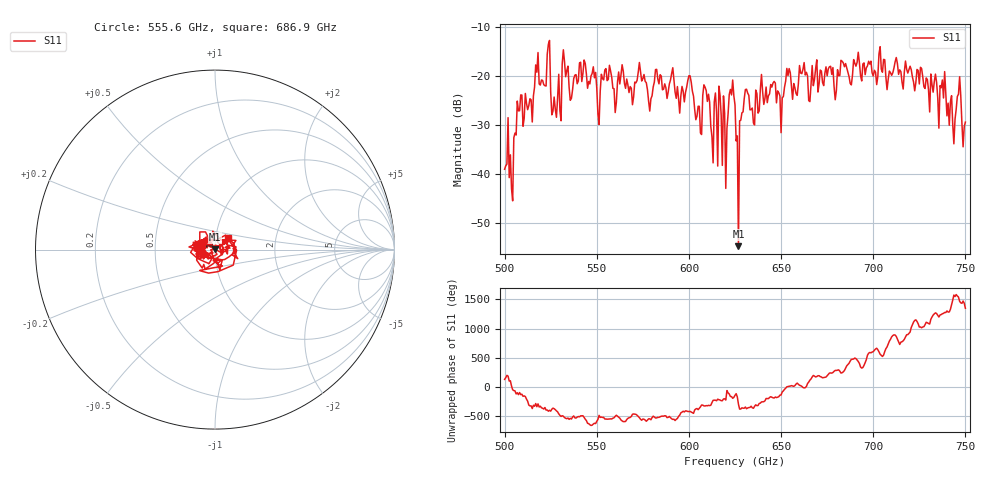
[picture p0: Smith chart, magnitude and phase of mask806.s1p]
!Created with skrf (http://scikit-rf.org).
# GHz S MA R 50.0
!freq magS11 angS11
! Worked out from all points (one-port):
!   401 points, 500 GHz to 750 GHz, reference 50 ohm
!   lowest |S11| = -54.7 dB at 626.9 GHz (marker M1), VSWR 1.00, Z = 50.1 + j0.157 ohm
!   |S11| at or under -10 dB: start of sweep to end of sweep
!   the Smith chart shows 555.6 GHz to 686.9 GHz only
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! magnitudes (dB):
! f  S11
! 500 GHz  -39.0
! 503.8 GHz  -43.0
! 508.1 GHz  -27.1
! 513.8 GHz  -24.7
! 517.5 GHz  -19.3
! 523.8 GHz  -13.6
! 526.9 GHz  -24.3
! 531.2 GHz  -17.6
! 562.5 GHz  -21.7
! 593.8 GHz  -22.2
! 600.6 GHz  -20.0
! 605.6 GHz  -26.2
! 609.4 GHz  -23.0
! 611.9 GHz  -30.3
! 617.5 GHz  -28.0
! 619.4 GHz  -27.6
! 623.1 GHz  -23.9
! 625 GHz  -25.9
! 626.9 GHz  -54.7
! 631.2 GHz  -22.7
! 634.4 GHz  -26.6
! 656.2 GHz  -24.8
! 687.5 GHz  -21.5
! 718.8 GHz  -19.4
! 737.5 GHz  -20.8
! 742.5 GHz  -24.0
! 746.2 GHz  -23.7
! 750 GHz  -29.4
